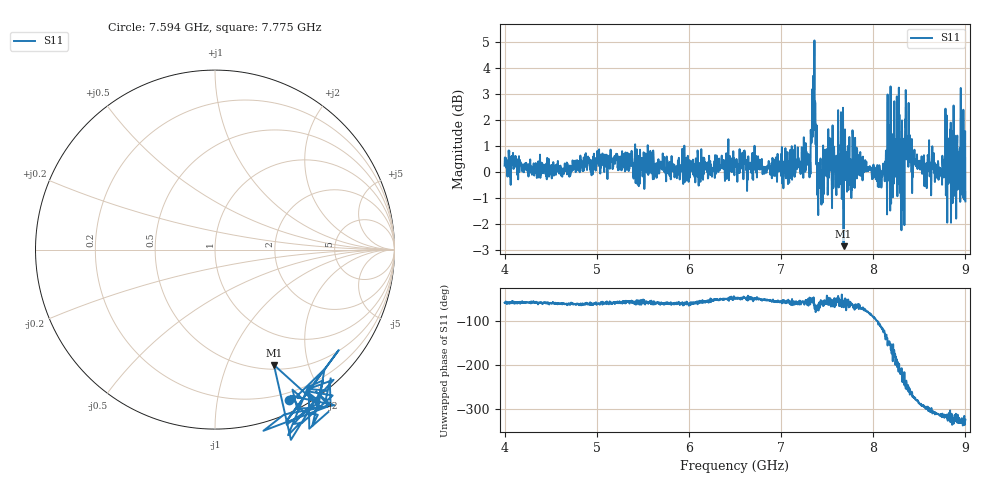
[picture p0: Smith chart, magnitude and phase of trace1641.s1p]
! Created with skrf 1.8.0 (http://scikit-rf.org).
# Hz S RI R 50.0
!freq ReS11 ImS11
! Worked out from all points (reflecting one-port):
!   1601 points, 4 GHz to 9 GHz, reference 50 ohm
!   lowest |S11| = -2.8 dB at 7.678 GHz (marker M1), VSWR 6.17, Z = 27.8 - j74.3 ohm
!   phase of S11 starts at -58 deg and turns -267 deg over the sweep
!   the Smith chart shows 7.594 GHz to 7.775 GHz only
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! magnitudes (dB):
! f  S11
! 4 GHz  0.2
! 4.625 GHz  -0.2
! 5.25 GHz  0.1
! 5.875 GHz  0.2
! 6.5 GHz  0.3
! 7.125 GHz  0.9
! 7.294 GHz  0.4
! 7.319 GHz  -0.1
! 7.347 GHz  3.7
! 7.362 GHz  5.0
! 7.4 GHz  -0.9
! 7.416 GHz  -0.6
! 7.512 GHz  1.6
! 7.575 GHz  1.0
! 7.678 GHz  -2.8
! 7.75 GHz  -0.5
! 8.075 GHz  0.0
! 8.162 GHz  -0.3
! 8.216 GHz  1.1
! 8.253 GHz  0.2
! 8.312 GHz  2.0
! 8.334 GHz  1.1
! 8.375 GHz  1.0
! 8.447 GHz  0.9
! 8.556 GHz  -0.5
! 8.869 GHz  -0.6
! 8.972 GHz  0.2
! 9 GHz  -1.1
